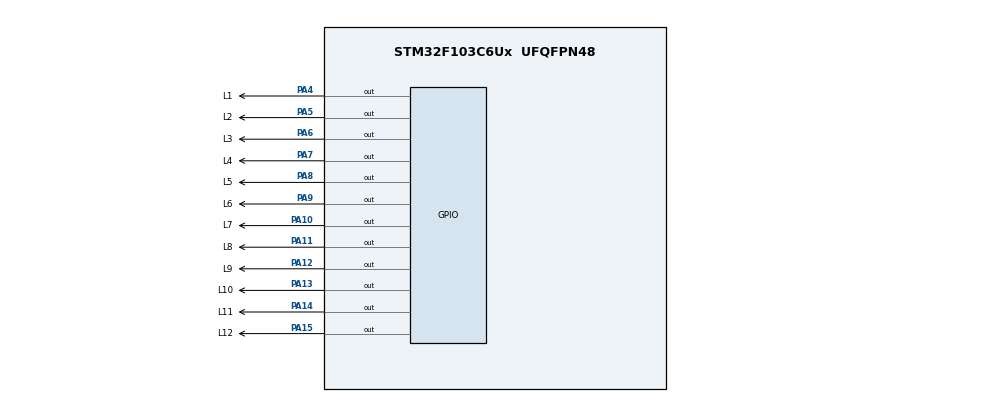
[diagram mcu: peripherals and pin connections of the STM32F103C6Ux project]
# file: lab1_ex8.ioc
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Mcu.Family=STM32F1
Mcu.Name=STM32F103C6Ux
Mcu.Package=UFQFPN48
NVIC.PriorityGroup=NVIC_PRIORITYGROUP_4
PA10.GPIO_Label=L7
PA10.Signal=GPIO_Output
PA11.GPIO_Label=L8
PA11.Signal=GPIO_Output
PA12.GPIO_Label=L9
PA12.Signal=GPIO_Output
PA13.GPIO_Label=L10
PA13.Signal=GPIO_Output
PA14.GPIO_Label=L11
PA14.Signal=GPIO_Output
PA15.GPIO_Label=L12
PA15.Signal=GPIO_Output
PA4.GPIO_Label=L1
PA4.Signal=GPIO_Output
PA5.GPIO_Label=L2
PA5.Signal=GPIO_Output
PA6.GPIO_Label=L3
PA6.Signal=GPIO_Output
PA7.GPIO_Label=L4
PA7.Signal=GPIO_Output
PA8.GPIO_Label=L5
PA8.Signal=GPIO_Output
PA9.GPIO_Label=L6
PA9.Signal=GPIO_Output
ProjectManager.HeapSize=0x200
ProjectManager.StackSize=0x400
ProjectManager.TargetToolchain=STM32CubeIDE
RCC.APB1Freq_Value=8000000
RCC.APB2Freq_Value=8000000
VP_SYS_VS_ND.Mode=No_Debug
board=custom

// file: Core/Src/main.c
/* USER CODE BEGIN Header */
/**
  ******************************************************************************
  * @file           : main.c
  * @brief          : Main program body
  ******************************************************************************
  * @attention
  *
  * <h2><center>&copy; Copyright (c) 2022 STMicroelectronics.
  * All rights reserved.</center></h2>
  *
  * This software component is licensed by ST under BSD 3-Clause license,
  * the "License"; You may not use this file except in compliance with the
  * License. You may obtain a copy of the License at:
  *                        opensource.org/licenses/BSD-3-Clause
  *
  ******************************************************************************
  */
/* USER CODE END Header */
#include "main.h"

void SystemClock_Config(void);
static void MX_GPIO_Init(void);

/* USER CODE BEGIN 0 */
void clearAllClock();
void setNumberOnClock(int num);
/* USER CODE END 0 */

int main(void)
{

  /* MCU Configuration--------------------------------------------------------*/

  /* Reset of all peripherals, Initializes the Flash interface and the Systick. */
  HAL_Init();

  /* Configure the system clock */
  SystemClock_Config();

  /* Initialize all configured peripherals */
  MX_GPIO_Init();
  /* USER CODE BEGIN 2 */
  int counter = -1;
  clearAllClock();
  setNumberOnClock(0);
  /* USER CODE END 2 */

  /* Infinite loop */
  while (1)
  {

    /* USER CODE BEGIN 3 */
	  if(counter >=0 ) {
		  clearAllClock();
		  switch(counter) {
		  case 0: //LED 1 off, LED 2 on
			  setNumberOnClock(1);
			  break;
		  case 1: //LED 2 off, LED 3 on
			  setNumberOnClock(2);
			  break;
		  case 2: //LED 3 off, LED 4 on
			  setNumberOnClock(3);
			  break;
		  case 3: //LED 4 off, LED 5 on
			  setNumberOnClock(4);
			  break;
		  case 4: //LED 5 off, LED 6 on
			  setNumberOnClock(5);
			  break;
		  case 5: //LED 6 off, LED 7 on
			  setNumberOnClock(6);
			  break;
		  case 6: //LED 7 off, LED 8 on
			  setNumberOnClock(7);
			  break;
		  case 7: //LED 8 off, LED 9 on
			  setNumberOnClock(8);
			  break;
		  case 8: //LED 9 off, LED 10 on
			  setNumberOnClock(9);
			  break;
		  case 9: //LED 10 off, LED 11 on
			  setNumberOnClock(10);
			  break;
		  case 10: //LED 11 off, LED 12 on
			  setNumberOnClock(11);
			  break;
		  case 11: //LED 12 off, LED 1 on
			  setNumberOnClock(0);
			  break;
		  }
	  }
	  counter++;
	  if(counter >= 12)
		  counter = 0; //Repeat the above effect endlessly.
	  HAL_Delay(1000);
  }
  /* USER CODE END 3 */
}

void SystemClock_Config(void)
{
  RCC_OscInitTypeDef RCC_OscInitStruct = {0};
  RCC_ClkInitTypeDef RCC_ClkInitStruct = {0};

  /** Initializes the RCC Oscillators according to the specified parameters
  * in the RCC_OscInitTypeDef structure.
  */
  RCC_OscInitStruct.OscillatorType = RCC_OSCILLATORTYPE_HSI;
  RCC_OscInitStruct.HSIState = RCC_HSI_ON;
  RCC_OscInitStruct.HSICalibrationValue = RCC_HSICALIBRATION_DEFAULT;
  RCC_OscInitStruct.PLL.PLLState = RCC_PLL_NONE;
  if (HAL_RCC_OscConfig(&RCC_OscInitStruct) != HAL_OK)
  {
    Error_Handler();
  }
  /** Initializes the CPU, AHB and APB buses clocks
  */
  RCC_ClkInitStruct.ClockType = RCC_CLOCKTYPE_HCLK|RCC_CLOCKTYPE_SYSCLK
                              |RCC_CLOCKTYPE_PCLK1|RCC_CLOCKTYPE_PCLK2;
  RCC_ClkInitStruct.SYSCLKSource = RCC_SYSCLKSOURCE_HSI;
  RCC_ClkInitStruct.AHBCLKDivider = RCC_SYSCLK_DIV1;
  RCC_ClkInitStruct.APB1CLKDivider = RCC_HCLK_DIV1;
  RCC_ClkInitStruct.APB2CLKDivider = RCC_HCLK_DIV1;

  if (HAL_RCC_ClockConfig(&RCC_ClkInitStruct, FLASH_LATENCY_0) != HAL_OK)
  {
    Error_Handler();
  }
}

static void MX_GPIO_Init(void)
{
  GPIO_InitTypeDef GPIO_InitStruct = {0};

  /* GPIO Ports Clock Enable */
  __HAL_RCC_GPIOA_CLK_ENABLE();

  /*Configure GPIO pin Output Level */
  HAL_GPIO_WritePin(GPIOA, L1_Pin|L2_Pin|L3_Pin|L4_Pin
                          |L5_Pin|L6_Pin|L7_Pin|L8_Pin
                          |L9_Pin|L10_Pin|L11_Pin|L12_Pin, GPIO_PIN_RESET);

  /*Configure GPIO pins : L1_Pin L2_Pin L3_Pin L4_Pin
                           L5_Pin L6_Pin L7_Pin L8_Pin
                           L9_Pin L10_Pin L11_Pin L12_Pin */
  GPIO_InitStruct.Pin = L1_Pin|L2_Pin|L3_Pin|L4_Pin
                          |L5_Pin|L6_Pin|L7_Pin|L8_Pin
                          |L9_Pin|L10_Pin|L11_Pin|L12_Pin;
  GPIO_InitStruct.Mode = GPIO_MODE_OUTPUT_PP;
  GPIO_InitStruct.Pull = GPIO_NOPULL;
  GPIO_InitStruct.Speed = GPIO_SPEED_FREQ_LOW;
  HAL_GPIO_Init(GPIOA, &GPIO_InitStruct);

}

/* USER CODE BEGIN 4 */
void clearAllClock() {
	HAL_GPIO_WritePin(L1_GPIO_Port, L1_Pin, GPIO_PIN_SET);
	HAL_GPIO_WritePin(L2_GPIO_Port, L2_Pin, GPIO_PIN_SET);
	HAL_GPIO_WritePin(L3_GPIO_Port, L3_Pin, GPIO_PIN_SET);
	HAL_GPIO_WritePin(L4_GPIO_Port, L4_Pin, GPIO_PIN_SET);
	HAL_GPIO_WritePin(L5_GPIO_Port, L5_Pin, GPIO_PIN_SET);
	HAL_GPIO_WritePin(L6_GPIO_Port, L6_Pin, GPIO_PIN_SET);
	HAL_GPIO_WritePin(L7_GPIO_Port, L7_Pin, GPIO_PIN_SET);
	HAL_GPIO_WritePin(L8_GPIO_Port, L8_Pin, GPIO_PIN_SET);
	HAL_GPIO_WritePin(L9_GPIO_Port, L9_Pin, GPIO_PIN_SET);
	HAL_GPIO_WritePin(L10_GPIO_Port, L10_Pin, GPIO_PIN_SET);
	HAL_GPIO_WritePin(L11_GPIO_Port, L11_Pin, GPIO_PIN_SET);
	HAL_GPIO_WritePin(L12_GPIO_Port, L12_Pin, GPIO_PIN_SET);
}

void setNumberOnClock(int num) {
	switch(num) {
	case 0:
		HAL_GPIO_WritePin(L1_GPIO_Port, L1_Pin, GPIO_PIN_RESET);
		break;
	case 1:
		HAL_GPIO_WritePin(L2_GPIO_Port, L2_Pin, GPIO_PIN_RESET);
		break;
	case 2:
		HAL_GPIO_WritePin(L3_GPIO_Port, L3_Pin, GPIO_PIN_RESET);
		break;
	case 3:
		HAL_GPIO_WritePin(L4_GPIO_Port, L4_Pin, GPIO_PIN_RESET);
		break;
	case 4:
		HAL_GPIO_WritePin(L5_GPIO_Port, L5_Pin, GPIO_PIN_RESET);
		break;
	case 5:
		HAL_GPIO_WritePin(L6_GPIO_Port, L6_Pin, GPIO_PIN_RESET);
		break;
	case 6:
		HAL_GPIO_WritePin(L7_GPIO_Port, L7_Pin, GPIO_PIN_RESET);
		break;
	case 7:
		HAL_GPIO_WritePin(L8_GPIO_Port, L8_Pin, GPIO_PIN_RESET);
		break;
	case 8:
		HAL_GPIO_WritePin(L9_GPIO_Port, L9_Pin, GPIO_PIN_RESET);
		break;
	case 9:
		HAL_GPIO_WritePin(L10_GPIO_Port, L10_Pin, GPIO_PIN_RESET);
		break;
	case 10:
		HAL_GPIO_WritePin(L11_GPIO_Port, L11_Pin, GPIO_PIN_RESET);
		break;
	case 11:
		HAL_GPIO_WritePin(L12_GPIO_Port, L12_Pin, GPIO_PIN_RESET);
		break;
	}
}
/* USER CODE END 4 */

void Error_Handler(void)
{
  __disable_irq();
  while (1)
  {
  }
}

/************************ (C) COPYRIGHT STMicroelectronics *****END OF FILE****/
